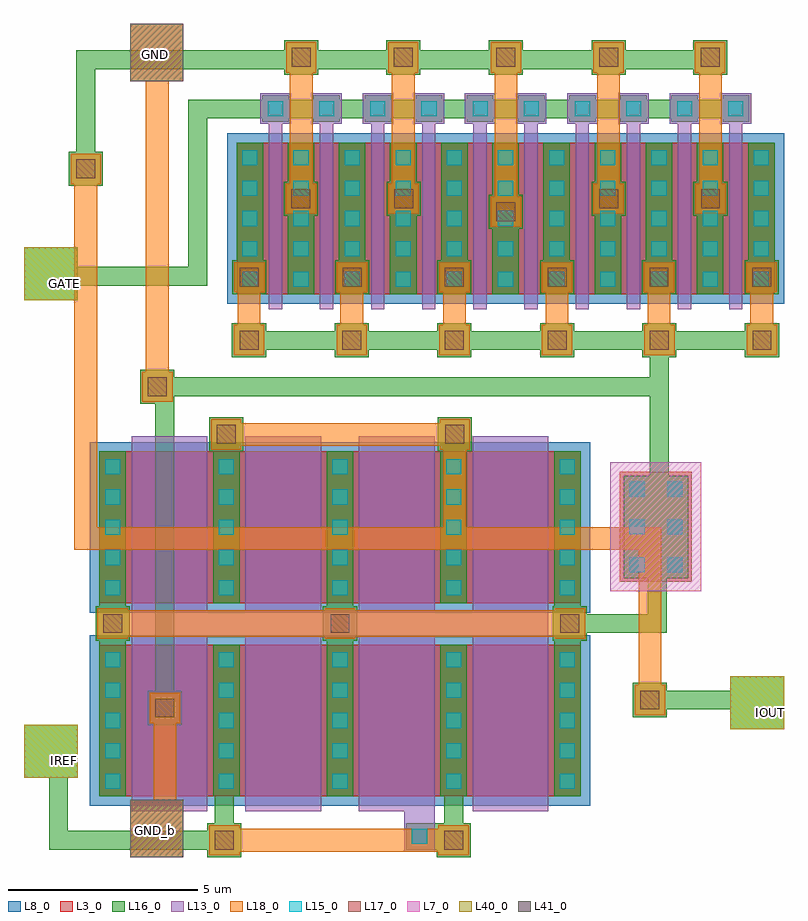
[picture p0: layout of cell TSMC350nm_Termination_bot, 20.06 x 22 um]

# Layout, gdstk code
from math import pi, radians
import gdstk
lib = gdstk.Library(unit=1e-6, precision=1e-09)
def R(c, l, rs):  # rectangles x0, y0, x1, y1
    for r in rs: c.add(gdstk.rectangle(r[:2], r[2:], *l))
def A(c, l, x, y, w, h, nx, ny, dx, dy):  # array of equal rectangles
    R(c, l, [(x+i*dx, y+j*dy, x+i*dx+w, y+j*dy+h) for i in range(nx) for j in range(ny)])
L3_0 = (3, 0)
L7_0 = (7, 0)
L8_0 = (8, 0)
L13_0 = (13, 0)
L15_0 = (15, 0)
L16_0 = (16, 0)
L17_0 = (17, 0)
L18_0 = (18, 0)
L40_0 = (40, 0)
L41_0 = (41, 0)

nch_cdns_755288760360 = lib.new_cell('nch_CDNS_755288760360')
A(nch_cdns_755288760360, L3_0, -0.85, 0, 0.7, 4, 11, 1, 1.35, 0)
A(nch_cdns_755288760360, L3_0, -0.15, 0, 0.65, 4, 10, 1, 1.35, 0)
R(nch_cdns_755288760360, L3_0, [(-0.85,0,-0.15,4), (12.65,0,13.35,4)])
R(nch_cdns_755288760360, L8_0, [(-1.1,-0.25,13.6,4.25)])
A(nch_cdns_755288760360, L13_0, 0, -0.4, 0.35, 4.8, 10, 1, 1.35, 0)
A(nch_cdns_755288760360, L15_0, -0.7, 0.2, 0.4, 0.4, 11, 5, 1.35, 0.8)
A(nch_cdns_755288760360, L16_0, -0.85, 0, 0.7, 4, 11, 1, 1.35, 0)
nch_cdns_755288760360.add(gdstk.Label('D', (11.65,2), layer=59, texttype=0))
nch_cdns_755288760360.add(gdstk.Label('D', (8.95,2), layer=59, texttype=0))
nch_cdns_755288760360.add(gdstk.Label('D', (6.25,2), layer=59, texttype=0))
nch_cdns_755288760360.add(gdstk.Label('D', (3.55,2), layer=59, texttype=0))
nch_cdns_755288760360.add(gdstk.Label('D', (0.85,2), layer=59, texttype=0))
nch_cdns_755288760360.add(gdstk.Label('S', (10.3,2), layer=59, texttype=0))
nch_cdns_755288760360.add(gdstk.Label('S', (7.6,2), layer=59, texttype=0))
nch_cdns_755288760360.add(gdstk.Label('S', (4.9,2), layer=59, texttype=0))
nch_cdns_755288760360.add(gdstk.Label('S', (2.2,2), layer=59, texttype=0))
nch_cdns_755288760360.add(gdstk.Label('S', (-0.5,2), layer=59, texttype=0))
nch_cdns_755288760360.add(gdstk.Label('S', (13,2), layer=59, texttype=0))
nch_cdns_755288760360.add(gdstk.Label('G', (12.325,2), layer=59, texttype=0))
nch_cdns_755288760360.add(gdstk.Label('G', (10.975,2), layer=59, texttype=0))
nch_cdns_755288760360.add(gdstk.Label('G', (9.625,2), layer=59, texttype=0))
nch_cdns_755288760360.add(gdstk.Label('G', (8.275,2), layer=59, texttype=0))
nch_cdns_755288760360.add(gdstk.Label('G', (6.925,2), layer=59, texttype=0))
nch_cdns_755288760360.add(gdstk.Label('G', (5.575,2), layer=59, texttype=0))
nch_cdns_755288760360.add(gdstk.Label('G', (4.225,2), layer=59, texttype=0))
nch_cdns_755288760360.add(gdstk.Label('G', (2.875,2), layer=59, texttype=0))
nch_cdns_755288760360.add(gdstk.Label('G', (1.525,2), layer=59, texttype=0))
nch_cdns_755288760360.add(gdstk.Label('G', (0.175,2), layer=59, texttype=0))
nch_cdns_755288760360.add(gdstk.Label('& SerialNumber 000000', (0,0), layer=16, texttype=0))
nch_cdns_755288760360.add(gdstk.Label('& Distributor VIS', (0,0), layer=16, texttype=0))
nch_cdns_755288760360.add(gdstk.Label('& Metric 1', (0,0), layer=16, texttype=0))
nch_cdns_755288760360.add(gdstk.Label('& Version    \t  1.7A', (0,0), layer=16, texttype=0))
nch_cdns_755288760360.add(gdstk.Label('& PDKName     vis35cv', (0,0), layer=16, texttype=0))
nch_cdns_755288760360.add(gdstk.Label('& Vendor VIS Corp.', (0,0), layer=16, texttype=0))
nch_cdns_755288760360.add(gdstk.Label('& SerialNumber 000000', (0,0), layer=63, texttype=63))
nch_cdns_755288760360.add(gdstk.Label('& Distributor VIS', (0,0), layer=63, texttype=63))
nch_cdns_755288760360.add(gdstk.Label('& Metric 1', (0,0), layer=63, texttype=63))
nch_cdns_755288760360.add(gdstk.Label('& Version    \t  1.7A', (0,0), layer=63, texttype=63))
nch_cdns_755288760360.add(gdstk.Label('& PDKName     vis35cv', (0,0), layer=63, texttype=63))
nch_cdns_755288760360.add(gdstk.Label('& Vendor VIS Corp.', (0,0), layer=63, texttype=63))

nch_cdns_744052977171 = lib.new_cell('nch_CDNS_744052977171')
A(nch_cdns_744052977171, L3_0, -0.85, 0, 0.7, 4, 5, 1, 3, 0)
A(nch_cdns_744052977171, L3_0, -0.15, 0, 2.3, 4, 4, 1, 3, 0)
R(nch_cdns_744052977171, L3_0, [(-0.85,0,-0.15,4), (11.15,0,11.85,4)])
R(nch_cdns_744052977171, L8_0, [(-1.1,-0.25,12.1,4.25)])
A(nch_cdns_744052977171, L13_0, 0, -0.4, 2, 4.8, 4, 1, 3, 0)
A(nch_cdns_744052977171, L15_0, -0.7, 0.2, 0.4, 0.4, 5, 5, 3, 0.8)
A(nch_cdns_744052977171, L16_0, -0.85, 0, 0.7, 4, 5, 1, 3, 0)
nch_cdns_744052977171.add(gdstk.Label('D', (8.5,2), layer=59, texttype=0))
nch_cdns_744052977171.add(gdstk.Label('D', (2.5,2), layer=59, texttype=0))
nch_cdns_744052977171.add(gdstk.Label('S', (5.5,2), layer=59, texttype=0))
nch_cdns_744052977171.add(gdstk.Label('S', (-0.5,2), layer=59, texttype=0))
nch_cdns_744052977171.add(gdstk.Label('S', (11.5,2), layer=59, texttype=0))
nch_cdns_744052977171.add(gdstk.Label('G', (10,2), layer=59, texttype=0))
nch_cdns_744052977171.add(gdstk.Label('G', (7,2), layer=59, texttype=0))
nch_cdns_744052977171.add(gdstk.Label('G', (4,2), layer=59, texttype=0))
nch_cdns_744052977171.add(gdstk.Label('G', (1,2), layer=59, texttype=0))
nch_cdns_744052977171.add(gdstk.Label('& SerialNumber 000000', (0,0), layer=16, texttype=0))
nch_cdns_744052977171.add(gdstk.Label('& Distributor VIS', (0,0), layer=16, texttype=0))
nch_cdns_744052977171.add(gdstk.Label('& Metric 1', (0,0), layer=16, texttype=0))
nch_cdns_744052977171.add(gdstk.Label('& Version    \t  1.7A', (0,0), layer=16, texttype=0))
nch_cdns_744052977171.add(gdstk.Label('& PDKName     vis35cv', (0,0), layer=16, texttype=0))
nch_cdns_744052977171.add(gdstk.Label('& Vendor VIS Corp.', (0,0), layer=16, texttype=0))
nch_cdns_744052977171.add(gdstk.Label('& SerialNumber 000000', (0,0), layer=63, texttype=63))
nch_cdns_744052977171.add(gdstk.Label('& Distributor VIS', (0,0), layer=63, texttype=63))
nch_cdns_744052977171.add(gdstk.Label('& Metric 1', (0,0), layer=63, texttype=63))
nch_cdns_744052977171.add(gdstk.Label('& Version    \t  1.7A', (0,0), layer=63, texttype=63))
nch_cdns_744052977171.add(gdstk.Label('& PDKName     vis35cv', (0,0), layer=63, texttype=63))
nch_cdns_744052977171.add(gdstk.Label('& Vendor VIS Corp.', (0,0), layer=63, texttype=63))

m1_pactive_cdns_75528876 = lib.new_cell('M1_PACTIVE_CDNS_755288760360')
R(m1_pactive_cdns_75528876, L3_0, [(-0.95,-1.45,0.95,1.45)])
R(m1_pactive_cdns_75528876, L7_0, [(-1.2,-1.7,1.2,1.7)])
A(m1_pactive_cdns_75528876, L15_0, -0.7, -1.2, 0.4, 0.4, 1, 3, 0, 1)
A(m1_pactive_cdns_75528876, L15_0, 0.3, -1.2, 0.4, 0.4, 1, 3, 0, 1)
R(m1_pactive_cdns_75528876, L16_0, [(-0.85,-1.35,0.85,1.35)])

m2_m1_cdns_755288760361 = lib.new_cell('M2_M1_CDNS_755288760361')
R(m2_m1_cdns_755288760361, L16_0, [(-0.45,-0.45,0.45,0.45)])
R(m2_m1_cdns_755288760361, L17_0, [(-0.25,-0.25,0.25,0.25)])
R(m2_m1_cdns_755288760361, L18_0, [(-0.4,-0.4,0.4,0.4)])

m1_poly1_cdns_7552887603 = lib.new_cell('M1_POLY1_CDNS_755288760362')
R(m1_poly1_cdns_7552887603, L13_0, [(-0.4,-0.4,0.4,0.4)])
R(m1_poly1_cdns_7552887603, L15_0, [(-0.2,-0.2,0.2,0.2)])
R(m1_poly1_cdns_7552887603, L16_0, [(-0.35,-0.35,0.35,0.35)])

m1_poly1__190324780_cdns = lib.new_cell('M1_POLY1$$190324780_CDNS_755288760363')
R(m1_poly1__190324780_cdns, L13_0, [(-0.4,-0.4,0.4,0.4)])
R(m1_poly1__190324780_cdns, L15_0, [(-0.2,-0.2,0.2,0.2)])
R(m1_poly1__190324780_cdns, L16_0, [(-0.35,-0.35,0.35,0.35)])

prog_periph_via2_cdns_75 = lib.new_cell('prog_periph_VIA2_CDNS_755288760364')
R(prog_periph_via2_cdns_75, L16_0, [(-0.45,-0.45,0.45,0.45)])
R(prog_periph_via2_cdns_75, L17_0, [(-0.25,-0.25,0.25,0.25)])
R(prog_periph_via2_cdns_75, L18_0, [(-0.4,-0.4,0.4,0.4)])

tsmc350nm_termination_bo = lib.new_cell('TSMC350nm_Termination_bot')
A(tsmc350nm_termination_bo, L13_0, 6.46, 18.95, 0.35, 0.97, 10, 1, 1.35, 0)
R(tsmc350nm_termination_bo, L13_0, [(10.04,0.95,10.84,1.21), (2.84,5.81,13.84,6.5)])
R(tsmc350nm_termination_bo, L16_0, [(0,2.1,1.42,3.5), (18.64,3.38,20.06,4.78), (5.58,13.39,19.38,13.89), (0,14.7,1.42,16.1), (5.36,19.5,19.02,20), (3.23,20.8,18.37,21.3)])
A(tsmc350nm_termination_bo, L18_0, 5.64, 13.69, 0.6, 1.88, 4, 1, 2.71, 0)
R(tsmc350nm_termination_bo, L18_0, [(2.8,0,4.2,1.52), (16.46,13.69,17.06,15.57), (19.17,13.69,19.77,15.57), (12.42,16.78,13.02,21.23), (7.02,17.08,7.62,21.19), (9.71,17.08,10.31,21.19), (15.13,17.08,15.73,21.19), (17.82,17.08,18.42,21.19), (2.8,20.48,4.2,22)])
R(tsmc350nm_termination_bo, L40_0, [(0,2.1,1.42,3.5), (18.64,3.38,20.06,4.78), (0,14.7,1.42,16.1)])
R(tsmc350nm_termination_bo, L41_0, [(2.8,0,4.2,1.52), (2.8,20.48,4.2,22)])
tsmc350nm_termination_bo.add(gdstk.FlexPath([(3.72,12.42),(3.72,3.94)], 0.5, ends=(0.45, 0), simple_path=True, layer=16, datatype=0))  # L16_0
tsmc350nm_termination_bo.add(gdstk.FlexPath([(16.77,12.42),(3.52,12.42)], 0.5, ends=(0.25, 0), simple_path=True, layer=16, datatype=0))  # L16_0
tsmc350nm_termination_bo.add(gdstk.FlexPath([(16.77,12.42),(16.77,13.65)], 0.5, ends=(0.25, 0), simple_path=True, layer=16, datatype=0))  # L16_0
tsmc350nm_termination_bo.add(gdstk.FlexPath([(3.52,12.42),(3.72,12.42)], 0.9, ends=(0, 0.25), simple_path=True, layer=16, datatype=0))  # L16_0
tsmc350nm_termination_bo.add(gdstk.FlexPath([(16.52,4.15),(19.66,4.15)], 0.5, ends="flush", simple_path=True, layer=16, datatype=0))  # L16_0
tsmc350nm_termination_bo.add(gdstk.FlexPath([(14.06,17.36),(14.06,18.26)], 0.7, ends="flush", simple_path=True, layer=16, datatype=0))  # L16_0
tsmc350nm_termination_bo.add(gdstk.FlexPath([(0.91,0.45),(0.91,3.01)], 0.5, ends="extended", simple_path=True, layer=16, datatype=0))  # L16_0
tsmc350nm_termination_bo.add(gdstk.FlexPath([(11.34,1.66),(11.34,0.45)], 0.5, ends="flush", simple_path=True, layer=16, datatype=0))  # L16_0
tsmc350nm_termination_bo.add(gdstk.FlexPath([(5.29,0.45),(0.91,0.45)], 0.5, ends="extended", simple_path=True, layer=16, datatype=0))  # L16_0
tsmc350nm_termination_bo.add(gdstk.FlexPath([(5.36,19.75),(4.59,19.75)], 0.5, ends=(0, 0.25), simple_path=True, layer=16, datatype=0))  # L16_0
tsmc350nm_termination_bo.add(gdstk.FlexPath([(4.59,15.33),(0.72,15.33)], 0.5, ends=(0.25, 0), simple_path=True, layer=16, datatype=0))  # L16_0
tsmc350nm_termination_bo.add(gdstk.FlexPath([(11.34,0.55),(11.59,0.55)], 0.7, ends=(0.25, 0), simple_path=True, layer=16, datatype=0))  # L16_0
tsmc350nm_termination_bo.add(gdstk.FlexPath([(11.34,11.28),(11.34,11.16)], 0.7, ends=(0, 0.35), simple_path=True, layer=16, datatype=0))  # L16_0
tsmc350nm_termination_bo.add(gdstk.FlexPath([(11.34,11.16),(11.37,11.16)], 0.7, ends=(0.35, 0), simple_path=True, layer=16, datatype=0))  # L16_0
tsmc350nm_termination_bo.add(gdstk.FlexPath([(0.91,3.01),(0,3.01)], 0.5, ends=(0.25, 0), simple_path=True, layer=16, datatype=0))  # L16_0
tsmc350nm_termination_bo.add(gdstk.FlexPath([(10.44,0.55),(11.34,0.55)], 0.7, ends=(0, 0.25), simple_path=True, layer=16, datatype=0))  # L16_0
tsmc350nm_termination_bo.add(gdstk.FlexPath([(16.71,6.17),(16.71,8.72)], 0.5, ends="extended", simple_path=True, layer=16, datatype=0))  # L16_0
tsmc350nm_termination_bo.add(gdstk.FlexPath([(8.34,5.59),(8.34,6.17)], 0.7, ends="flush", simple_path=True, layer=16, datatype=0))  # L16_0
tsmc350nm_termination_bo.add(gdstk.FlexPath([(8.34,6.17),(8.34,6.71)], 0.7, ends="flush", simple_path=True, layer=16, datatype=0))  # L16_0
tsmc350nm_termination_bo.add(gdstk.FlexPath([(5.29,1.66),(5.29,0.45)], 0.5, ends=(0, 0.25), simple_path=True, layer=16, datatype=0))  # L16_0
tsmc350nm_termination_bo.add(gdstk.FlexPath([(14.34,5.61),(14.34,6.71)], 0.7, ends="flush", simple_path=True, layer=16, datatype=0))  # L16_0
tsmc350nm_termination_bo.add(gdstk.FlexPath([(1.63,21.05),(1.63,18.17)], 0.5, ends=(0.25, 0), simple_path=True, layer=16, datatype=0))  # L16_0
tsmc350nm_termination_bo.add(gdstk.FlexPath([(2.34,5.6),(2.34,6.17)], 0.7, ends="flush", simple_path=True, layer=16, datatype=0))  # L16_0
tsmc350nm_termination_bo.add(gdstk.FlexPath([(2.34,6.17),(2.34,6.71)], 0.7, ends="flush", simple_path=True, layer=16, datatype=0))  # L16_0
tsmc350nm_termination_bo.add(gdstk.FlexPath([(16.68,8.72),(16.71,8.72)], 0.5, ends=(0, 0.25), simple_path=True, layer=16, datatype=0))  # L16_0
tsmc350nm_termination_bo.add(gdstk.FlexPath([(4.59,19.75),(4.59,15.33)], 0.5, ends="extended", simple_path=True, layer=16, datatype=0))  # L16_0
tsmc350nm_termination_bo.add(gdstk.FlexPath([(3.23,21.05),(1.63,21.05)], 0.5, ends=(0, 0.25), simple_path=True, layer=16, datatype=0))  # L16_0
tsmc350nm_termination_bo.add(gdstk.FlexPath([(11.37,11.16),(11.57,11.16)], 0.9, ends=(0, 0.25), simple_path=True, layer=16, datatype=0))  # L16_0
tsmc350nm_termination_bo.add(gdstk.FlexPath([(16.77,8.72),(16.77,12.42)], 0.5, ends="extended", simple_path=True, layer=16, datatype=0))  # L16_0
tsmc350nm_termination_bo.add(gdstk.FlexPath([(16.71,8.72),(16.77,8.72)], 0.5, ends="extended", simple_path=True, layer=16, datatype=0))  # L16_0
tsmc350nm_termination_bo.add(gdstk.FlexPath([(14.41,6.17),(16.71,6.17)], 0.5, ends=(0, 0.25), simple_path=True, layer=16, datatype=0))  # L16_0
tsmc350nm_termination_bo.add(gdstk.FlexPath([(1.63,8.41),(11.37,8.41)], 0.6, ends="extended", simple_path=True, layer=18, datatype=0))  # L18_0
tsmc350nm_termination_bo.add(gdstk.FlexPath([(3.72,3.94),(3.72,0)], 0.6, ends="flush", simple_path=True, layer=18, datatype=0))  # L18_0
tsmc350nm_termination_bo.add(gdstk.FlexPath([(3.52,12.42),(3.52,22)], 0.6, ends="flush", simple_path=True, layer=18, datatype=0))  # L18_0
tsmc350nm_termination_bo.add(gdstk.FlexPath([(11.37,11.16),(11.37,8.41)], 0.6, ends=(0, 0.3), simple_path=True, layer=18, datatype=0))  # L18_0
tsmc350nm_termination_bo.add(gdstk.FlexPath([(11.37,8.41),(16.52,8.41)], 0.6, ends="extended", simple_path=True, layer=18, datatype=0))  # L18_0
tsmc350nm_termination_bo.add(gdstk.FlexPath([(1.63,18.17),(1.63,8.41)], 0.6, ends=(0, 0.3), simple_path=True, layer=18, datatype=0))  # L18_0
tsmc350nm_termination_bo.add(gdstk.FlexPath([(16.52,8.41),(16.52,4.15)], 0.6, ends=(0.3, 0), simple_path=True, layer=18, datatype=0))  # L18_0
tsmc350nm_termination_bo.add(gdstk.FlexPath([(5.29,0.45),(8.56,0.45)], 0.6, ends=(0, 0.3), simple_path=True, layer=18, datatype=0))  # L18_0
tsmc350nm_termination_bo.add(gdstk.FlexPath([(11.42,0.45),(8.56,0.45)], 0.6, ends=(0, 0.3), simple_path=True, layer=18, datatype=0))  # L18_0
tsmc350nm_termination_bo.add(gdstk.FlexPath([(2.34,6.17),(14.41,6.17)], 0.7, ends="flush", simple_path=True, layer=18, datatype=0))  # L18_0
tsmc350nm_termination_bo.add(gdstk.FlexPath([(5.34,11.16),(11.37,11.16)], 0.6, ends=(0, 0.3), simple_path=True, layer=18, datatype=0))  # L18_0
tsmc350nm_termination_bo.add(gdstk.Reference(nch_cdns_755288760360, (6.46,18.86), x_reflection=True))
tsmc350nm_termination_bo.add(gdstk.Reference(nch_cdns_744052977171, (2.84,6.71)))
tsmc350nm_termination_bo.add(gdstk.Reference(nch_cdns_744052977171, (2.84,1.61)))
tsmc350nm_termination_bo.add(gdstk.Reference(m1_pactive_cdns_75528876, (16.68,8.72)))
tsmc350nm_termination_bo.add(gdstk.Reference(m2_m1_cdns_755288760361, (19.48,13.65), x_reflection=True))
tsmc350nm_termination_bo.add(gdstk.Reference(m2_m1_cdns_755288760361, (19.47,15.31), x_reflection=True))
tsmc350nm_termination_bo.add(gdstk.Reference(m2_m1_cdns_755288760361, (18.12,17.38), x_reflection=True))
tsmc350nm_termination_bo.add(gdstk.Reference(m2_m1_cdns_755288760361, (16.77,13.65), x_reflection=True))
tsmc350nm_termination_bo.add(gdstk.Reference(m2_m1_cdns_755288760361, (16.76,15.31), x_reflection=True))
tsmc350nm_termination_bo.add(gdstk.Reference(m2_m1_cdns_755288760361, (15.43,17.38), x_reflection=True))
tsmc350nm_termination_bo.add(gdstk.Reference(m2_m1_cdns_755288760361, (14.07,13.65), x_reflection=True))
tsmc350nm_termination_bo.add(gdstk.Reference(m2_m1_cdns_755288760361, (14.07,15.31), x_reflection=True))
tsmc350nm_termination_bo.add(gdstk.Reference(m2_m1_cdns_755288760361, (12.72,17.04), x_reflection=True))
tsmc350nm_termination_bo.add(gdstk.Reference(m2_m1_cdns_755288760361, (11.36,13.65), x_reflection=True))
tsmc350nm_termination_bo.add(gdstk.Reference(m2_m1_cdns_755288760361, (11.36,15.31), x_reflection=True))
tsmc350nm_termination_bo.add(gdstk.Reference(m2_m1_cdns_755288760361, (10.02,17.38), x_reflection=True))
tsmc350nm_termination_bo.add(gdstk.Reference(m2_m1_cdns_755288760361, (8.66,15.31), x_reflection=True))
tsmc350nm_termination_bo.add(gdstk.Reference(m2_m1_cdns_755288760361, (8.65,13.65), x_reflection=True))
tsmc350nm_termination_bo.add(gdstk.Reference(m2_m1_cdns_755288760361, (7.31,17.38), x_reflection=True))
tsmc350nm_termination_bo.add(gdstk.Reference(m2_m1_cdns_755288760361, (18.11,21.11), x_reflection=True))
tsmc350nm_termination_bo.add(gdstk.Reference(m2_m1_cdns_755288760361, (15.43,21.11), x_reflection=True))
tsmc350nm_termination_bo.add(gdstk.Reference(m2_m1_cdns_755288760361, (12.72,21.11), x_reflection=True))
tsmc350nm_termination_bo.add(gdstk.Reference(m2_m1_cdns_755288760361, (10.01,21.11), x_reflection=True))
tsmc350nm_termination_bo.add(gdstk.Reference(m2_m1_cdns_755288760361, (7.32,21.11), x_reflection=True))
tsmc350nm_termination_bo.add(gdstk.Reference(m2_m1_cdns_755288760361, (5.95,15.31), x_reflection=True))
tsmc350nm_termination_bo.add(gdstk.Reference(m2_m1_cdns_755288760361, (5.94,13.65), x_reflection=True))
tsmc350nm_termination_bo.add(gdstk.Reference(m2_m1_cdns_755288760361, (3.72,3.94)))
tsmc350nm_termination_bo.add(gdstk.Reference(m2_m1_cdns_755288760361, (16.52,4.15)))
tsmc350nm_termination_bo.add(gdstk.Reference(m2_m1_cdns_755288760361, (3.52,12.42)))
tsmc350nm_termination_bo.add(gdstk.Reference(m2_m1_cdns_755288760361, (1.63,18.17)))
tsmc350nm_termination_bo.add(gdstk.Reference(m1_poly1_cdns_7552887603, (18.79,19.76), x_reflection=True))
tsmc350nm_termination_bo.add(gdstk.Reference(m1_poly1_cdns_7552887603, (17.44,19.76), x_reflection=True))
tsmc350nm_termination_bo.add(gdstk.Reference(m1_poly1_cdns_7552887603, (16.09,19.76), x_reflection=True))
tsmc350nm_termination_bo.add(gdstk.Reference(m1_poly1_cdns_7552887603, (14.74,19.76), x_reflection=True))
tsmc350nm_termination_bo.add(gdstk.Reference(m1_poly1_cdns_7552887603, (13.39,19.76), x_reflection=True))
tsmc350nm_termination_bo.add(gdstk.Reference(m1_poly1_cdns_7552887603, (12.04,19.76), x_reflection=True))
tsmc350nm_termination_bo.add(gdstk.Reference(m1_poly1_cdns_7552887603, (10.69,19.76), x_reflection=True))
tsmc350nm_termination_bo.add(gdstk.Reference(m1_poly1_cdns_7552887603, (9.34,19.76), x_reflection=True))
tsmc350nm_termination_bo.add(gdstk.Reference(m1_poly1_cdns_7552887603, (7.99,19.76), x_reflection=True))
tsmc350nm_termination_bo.add(gdstk.Reference(m1_poly1_cdns_7552887603, (6.64,19.76), x_reflection=True))
tsmc350nm_termination_bo.add(gdstk.Reference(m1_poly1__190324780_cdns, (10.44,0.55), rotation=pi/2))
tsmc350nm_termination_bo.add(gdstk.Reference(prog_periph_via2_cdns_75, (11.34,0.45), rotation=pi/2))
tsmc350nm_termination_bo.add(gdstk.Reference(prog_periph_via2_cdns_75, (5.29,0.45), rotation=pi/2))
tsmc350nm_termination_bo.add(gdstk.Reference(prog_periph_via2_cdns_75, (2.34,6.17), rotation=pi/2))
tsmc350nm_termination_bo.add(gdstk.Reference(prog_periph_via2_cdns_75, (14.41,6.17), rotation=pi/2))
tsmc350nm_termination_bo.add(gdstk.Reference(prog_periph_via2_cdns_75, (8.34,6.17), rotation=pi/2))
tsmc350nm_termination_bo.add(gdstk.Reference(prog_periph_via2_cdns_75, (11.37,11.16), rotation=pi/2))
tsmc350nm_termination_bo.add(gdstk.Reference(prog_periph_via2_cdns_75, (5.34,11.16), rotation=pi/2))
tsmc350nm_termination_bo.add(gdstk.Label('GATE', (1.06,15.15), layer=40, texttype=0))
tsmc350nm_termination_bo.add(gdstk.Label('IOUT', (19.7,3.83), layer=40, texttype=0))
tsmc350nm_termination_bo.add(gdstk.Label('IREF', (1.06,2.55), layer=40, texttype=0))
tsmc350nm_termination_bo.add(gdstk.Label('GND_b', (3.46,0.71), layer=41, texttype=0))
tsmc350nm_termination_bo.add(gdstk.Label('GND', (3.46,21.19), layer=41, texttype=0))

lib.write_gds('TSMC350nm_Termination_bot.gds')
